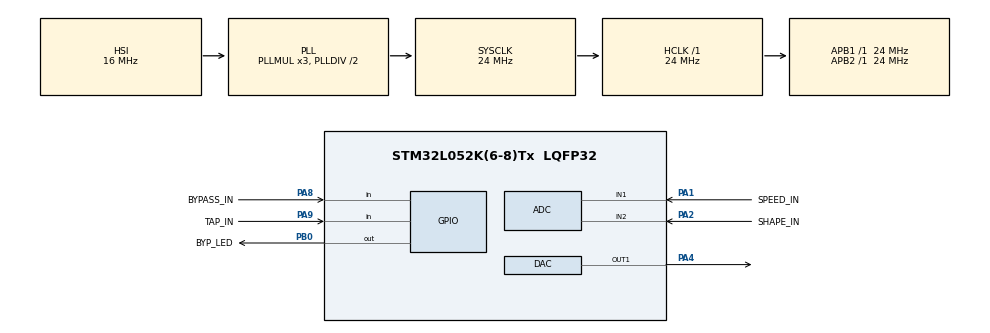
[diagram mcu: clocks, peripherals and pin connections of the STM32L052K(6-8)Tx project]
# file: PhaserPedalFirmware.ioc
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ADC.SamplingTime=ADC_SAMPLETIME_79CYCLES_5
DAC.DAC_Trigger=DAC_TRIGGER_T2_TRGO
Dma.DAC_CH1.0.Direction=DMA_MEMORY_TO_PERIPH
Dma.DAC_CH1.0.Instance=DMA1_Channel2
Dma.DAC_CH1.0.MemDataAlignment=DMA_MDATAALIGN_HALFWORD
Dma.DAC_CH1.0.MemInc=DMA_MINC_ENABLE
Dma.DAC_CH1.0.Mode=DMA_CIRCULAR
Dma.DAC_CH1.0.PeriphDataAlignment=DMA_PDATAALIGN_HALFWORD
Dma.DAC_CH1.0.PeriphInc=DMA_PINC_DISABLE
Dma.DAC_CH1.0.Priority=DMA_PRIORITY_LOW
Dma.Request0=DAC_CH1
Mcu.Family=STM32L0
Mcu.Name=STM32L052K(6-8)Tx
Mcu.Package=LQFP32
NVIC.DMA1_Channel2_3_IRQn=true\:0\:0\:false\:false\:true\:false\:true\:true
NVIC.TIM21_IRQn=true\:0\:0\:false\:false\:true\:true\:true\:true
NVIC.TIM6_DAC_IRQn=true\:0\:0\:false\:false\:true\:true\:true\:true
PA1.GPIO_Label=SPEED_IN
PA1.Mode=IN1
PA1.Signal=ADC_IN1
PA13.Mode=Serial_Wire
PA13.Signal=SYS_SWDIO
PA14.Mode=Serial_Wire
PA14.Signal=SYS_SWCLK
PA2.GPIO_Label=SHAPE_IN
PA2.Mode=IN2
PA2.Signal=ADC_IN2
PA4.Signal=COMP_DAC1_group
PA8.GPIO_Label=BYPASS_IN
PA8.Signal=GPIO_Input
PA9.GPIO_Label=TAP_IN
PA9.Signal=GPIO_Input
PB0.GPIO_Label=BYP_LED
PB0.Signal=GPIO_Output
ProjectManager.HeapSize=0x200
ProjectManager.StackSize=0x400
ProjectManager.TargetToolchain=CMake
RCC.AHBFreq_Value=24000000
RCC.APB1Freq_Value=24000000
RCC.APB1TimFreq_Value=24000000
RCC.APB2Freq_Value=24000000
RCC.APB2TimFreq_Value=24000000
RCC.HCLKFreq_Value=24000000
RCC.HSI16_VALUE=16000000
RCC.HSI48_VALUE=48000000
RCC.HSI_VALUE=16000000
RCC.LSE_VALUE=32768
RCC.MSI_VALUE=2097000
RCC.SYSCLKFreq_VALUE=24000000
RCC.SYSCLKSource=RCC_SYSCLKSOURCE_PLLCLK
RCC.VCOOutputFreq_Value=48000000
SH.COMP_DAC1_group.0=DAC_OUT1,DAC_OUT1
TIM2.Period=499
TIM2.TIM_MasterOutputTrigger=TIM_TRGO_UPDATE
TIM21.Period=59999
TIM21.Prescaler=3
TIM21.TIM_MasterOutputTrigger=TIM_TRGO_UPDATE
TIM6.Period=2999
VP_TIM21_VS_ClockSourceINT.Mode=Internal
VP_TIM2_VS_ClockSourceINT.Mode=Internal
VP_TIM6_VS_ClockSourceINT.Mode=Enable_Timer
board=custom

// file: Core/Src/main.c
/* USER CODE BEGIN Header */
/**
  ******************************************************************************
  * @file           : main.c
  * @brief          : Main program body
  ******************************************************************************
  * @attention
  *
  * Copyright (c) 2026 STMicroelectronics.
  * All rights reserved.
  *
  * This software is licensed under terms that can be found in the LICENSE file
  * in the root directory of this software component.
  * If no LICENSE file comes with this software, it is provided AS-IS.
  *
  ******************************************************************************
  */
/* USER CODE END Header */
#include "main.h"

/* USER CODE BEGIN Includes */
#include "tap_tempo.h"
#include "lfo.h"
#include "norm_range.h"
/* USER CODE END Includes */

/* USER CODE BEGIN PD */
#define SPEED_MIN 0.15f
#define SPEED_MAX 10.0f
#define SPEED_CENTER 1.3f

#define SHAPE_MIN 0.03f
#define SHAPE_MAX 0.97f
#define SHAPE_CENTER 0.5f
/* USER CODE END PD */

ADC_HandleTypeDef hadc;

DAC_HandleTypeDef hdac;
DMA_HandleTypeDef hdma_dac_ch1;

TIM_HandleTypeDef htim2;
TIM_HandleTypeDef htim6;
TIM_HandleTypeDef htim21;

/* USER CODE BEGIN PV */
// main DMA buffer
uint16_t dmaBuf[DMA_BUF_SIZE * 2];
uint16_t* const dmaPtrA = dmaBuf;
uint16_t* const dmaPtrB = &dmaBuf[DMA_BUF_SIZE];
volatile bool bufferReady = false;
uint16_t* nextBuffer = dmaPtrA;
lfo_state lfo;
bool speedKnobMoved = false;
bool inTapMode = false;
// knob state
float currentSpeedValue = 0.0f;
float currentShapeValue = 0.0f;
// knob ranges
norm_range_t speedRange;
norm_range_t shapeRange;
// global time stuff
static const float secsIncrement = 1.0f / (float)TAP_SAMPLE_RATE;
static float globalSeconds = 0.0f;

/* USER CODE END PV */

void SystemClock_Config(void);
static void MX_GPIO_Init(void);
static void MX_DMA_Init(void);
static void MX_DAC_Init(void);
static void MX_ADC_Init(void);
static void MX_TIM2_Init(void);
static void MX_TIM6_Init(void);
static void MX_TIM21_Init(void);
/* USER CODE BEGIN PFP */
void readPotADCs();
void initControlRanges();
/* USER CODE END PFP */

/* USER CODE BEGIN 0 */
void fillNextBuffer(uint16_t* buf){
  for(uint16_t i = 0; i < DMA_BUF_SIZE; ++i){
    buf[i] =  lfo_next_value(&lfo);
  }
}

static float readADCChannel(uint32_t chselMask){
  // select only this channel so each start does exactly one conversion
  // (avoids an overrun when scanning both channels back to back)
  hadc.Instance->CHSELR = chselMask;
  if(HAL_ADC_Start(&hadc) != HAL_OK){
    Error_Handler();
  }
  if(HAL_ADC_PollForConversion(&hadc, 10) != HAL_OK){
    Error_Handler();
  }
  const uint32_t raw = HAL_ADC_GetValue(&hadc);
  HAL_ADC_Stop(&hadc);
  return (float)raw / 4095.0f;
}

void readPotADCs(){
  const float newSpeedValue = readADCChannel(ADC_CHSELR_CHSEL1);
  const float newShapeValue = readADCChannel(ADC_CHSELR_CHSEL2);
  // update if the value has changed by more than 3%
  if(!fwithin_error(currentSpeedValue, newSpeedValue, 0.03f)){
    currentSpeedValue = newSpeedValue;
    lfo_update_period(&lfo, 1.0f / norm_range_denormalize(&speedRange, currentSpeedValue));
    speedKnobMoved = true;
  }
  if(!fwithin_error(currentShapeValue, newShapeValue, 0.03f)){
    currentShapeValue = newShapeValue;
    lfo_update_peak_phase(&lfo, norm_range_denormalize(&shapeRange, currentShapeValue));
  }
}

void initControlRanges(){
  norm_range_init(&speedRange, SPEED_MIN, SPEED_MAX, SPEED_CENTER);
  norm_range_init(&shapeRange, SHAPE_MIN, SHAPE_MAX, SHAPE_CENTER);
}
/* USER CODE END 0 */

int main(void)
{

  /* MCU Configuration--------------------------------------------------------*/

  /* Reset of all peripherals, Initializes the Flash interface and the Systick. */
  HAL_Init();

  /* Configure the system clock */
  SystemClock_Config();

  /* Initialize all configured peripherals */
  MX_GPIO_Init();
  MX_DMA_Init();
  MX_DAC_Init();
  MX_ADC_Init();
  MX_TIM2_Init();
  MX_TIM6_Init();
  MX_TIM21_Init();
  /* USER CODE BEGIN 2 */
  // start the DMA stream for the DAC values
  if(HAL_DAC_Start_DMA(&hdac, DAC_CHANNEL_1, (uint32_t*)dmaBuf, DMA_BUF_SIZE * 2, DAC_ALIGN_12B_R)!= HAL_OK){
    Error_Handler();
  }
  // start the timer that triggers the DAC
  if(HAL_TIM_Base_Start(&htim2)!= HAL_OK){
    Error_Handler();
  }
  // start the timer for checking the buttons
  if(HAL_TIM_Base_Start_IT(&htim6)!= HAL_OK){
    Error_Handler();
  }
  // start the timer for checking the knobs
  if(HAL_TIM_Base_Start_IT(&htim21)!= HAL_OK){
    Error_Handler();
  }
  // initialize the LFO
  lfo_init_state(&lfo);
  // initialize the control ranges
  initControlRanges();
  //initialize the tap tempo
  tap_tempo_init();
  /* USER CODE END 2 */

  /* Infinite loop */
  /* USER CODE BEGIN WHILE */
  while (1)
  {
    if(bufferReady){
      fillNextBuffer(nextBuffer);
      bufferReady = false;
    }
    /* USER CODE END WHILE */

  }
}

void SystemClock_Config(void)
{
  RCC_OscInitTypeDef RCC_OscInitStruct = {0};
  RCC_ClkInitTypeDef RCC_ClkInitStruct = {0};

  /** Configure the main internal regulator output voltage
  */
  __HAL_PWR_VOLTAGESCALING_CONFIG(PWR_REGULATOR_VOLTAGE_SCALE1);

  /** Initializes the RCC Oscillators according to the specified parameters
  * in the RCC_OscInitTypeDef structure.
  */
  RCC_OscInitStruct.OscillatorType = RCC_OSCILLATORTYPE_HSI;
  RCC_OscInitStruct.HSIState = RCC_HSI_ON;
  RCC_OscInitStruct.HSICalibrationValue = RCC_HSICALIBRATION_DEFAULT;
  RCC_OscInitStruct.PLL.PLLState = RCC_PLL_ON;
  RCC_OscInitStruct.PLL.PLLSource = RCC_PLLSOURCE_HSI;
  RCC_OscInitStruct.PLL.PLLMUL = RCC_PLLMUL_3;
  RCC_OscInitStruct.PLL.PLLDIV = RCC_PLLDIV_2;
  if (HAL_RCC_OscConfig(&RCC_OscInitStruct) != HAL_OK)
  {
    Error_Handler();
  }

  /** Initializes the CPU, AHB and APB buses clocks
  */
  RCC_ClkInitStruct.ClockType = RCC_CLOCKTYPE_HCLK|RCC_CLOCKTYPE_SYSCLK
                              |RCC_CLOCKTYPE_PCLK1|RCC_CLOCKTYPE_PCLK2;
  RCC_ClkInitStruct.SYSCLKSource = RCC_SYSCLKSOURCE_PLLCLK;
  RCC_ClkInitStruct.AHBCLKDivider = RCC_SYSCLK_DIV1;
  RCC_ClkInitStruct.APB1CLKDivider = RCC_HCLK_DIV1;
  RCC_ClkInitStruct.APB2CLKDivider = RCC_HCLK_DIV1;

  if (HAL_RCC_ClockConfig(&RCC_ClkInitStruct, FLASH_LATENCY_1) != HAL_OK)
  {
    Error_Handler();
  }
}

static void MX_ADC_Init(void)
{

  ADC_ChannelConfTypeDef sConfig = {0};

  /** Configure the global features of the ADC (Clock, Resolution, Data Alignment and number of conversion)
  */
  hadc.Instance = ADC1;
  hadc.Init.OversamplingMode = DISABLE;
  hadc.Init.ClockPrescaler = ADC_CLOCK_SYNC_PCLK_DIV2;
  hadc.Init.Resolution = ADC_RESOLUTION_12B;
  hadc.Init.SamplingTime = ADC_SAMPLETIME_79CYCLES_5;
  hadc.Init.ScanConvMode = ADC_SCAN_DIRECTION_FORWARD;
  hadc.Init.DataAlign = ADC_DATAALIGN_RIGHT;
  hadc.Init.ContinuousConvMode = DISABLE;
  hadc.Init.DiscontinuousConvMode = DISABLE;
  hadc.Init.ExternalTrigConvEdge = ADC_EXTERNALTRIGCONVEDGE_NONE;
  hadc.Init.ExternalTrigConv = ADC_SOFTWARE_START;
  hadc.Init.DMAContinuousRequests = DISABLE;
  hadc.Init.EOCSelection = ADC_EOC_SINGLE_CONV;
  hadc.Init.Overrun = ADC_OVR_DATA_PRESERVED;
  hadc.Init.LowPowerAutoWait = DISABLE;
  hadc.Init.LowPowerFrequencyMode = DISABLE;
  hadc.Init.LowPowerAutoPowerOff = DISABLE;
  if (HAL_ADC_Init(&hadc) != HAL_OK)
  {
    Error_Handler();
  }

  /** Configure for the selected ADC regular channel to be converted.
  */
  sConfig.Channel = ADC_CHANNEL_1;
  sConfig.Rank = ADC_RANK_CHANNEL_NUMBER;
  if (HAL_ADC_ConfigChannel(&hadc, &sConfig) != HAL_OK)
  {
    Error_Handler();
  }

  /** Configure for the selected ADC regular channel to be converted.
  */
  sConfig.Channel = ADC_CHANNEL_2;
  if (HAL_ADC_ConfigChannel(&hadc, &sConfig) != HAL_OK)
  {
    Error_Handler();
  }

}

static void MX_DAC_Init(void)
{

  DAC_ChannelConfTypeDef sConfig = {0};

  /** DAC Initialization
  */
  hdac.Instance = DAC;
  if (HAL_DAC_Init(&hdac) != HAL_OK)
  {
    Error_Handler();
  }

  /** DAC channel OUT1 config
  */
  sConfig.DAC_Trigger = DAC_TRIGGER_T2_TRGO;
  sConfig.DAC_OutputBuffer = DAC_OUTPUTBUFFER_ENABLE;
  if (HAL_DAC_ConfigChannel(&hdac, &sConfig, DAC_CHANNEL_1) != HAL_OK)
  {
    Error_Handler();
  }

}

static void MX_TIM2_Init(void)
{

  TIM_ClockConfigTypeDef sClockSourceConfig = {0};
  TIM_MasterConfigTypeDef sMasterConfig = {0};

  htim2.Instance = TIM2;
  htim2.Init.Prescaler = 0;
  htim2.Init.CounterMode = TIM_COUNTERMODE_UP;
  htim2.Init.Period = 499;
  htim2.Init.ClockDivision = TIM_CLOCKDIVISION_DIV1;
  htim2.Init.AutoReloadPreload = TIM_AUTORELOAD_PRELOAD_DISABLE;
  if (HAL_TIM_Base_Init(&htim2) != HAL_OK)
  {
    Error_Handler();
  }
  sClockSourceConfig.ClockSource = TIM_CLOCKSOURCE_INTERNAL;
  if (HAL_TIM_ConfigClockSource(&htim2, &sClockSourceConfig) != HAL_OK)
  {
    Error_Handler();
  }
  sMasterConfig.MasterOutputTrigger = TIM_TRGO_UPDATE;
  sMasterConfig.MasterSlaveMode = TIM_MASTERSLAVEMODE_DISABLE;
  if (HAL_TIMEx_MasterConfigSynchronization(&htim2, &sMasterConfig) != HAL_OK)
  {
    Error_Handler();
  }

}

static void MX_TIM6_Init(void)
{

  TIM_MasterConfigTypeDef sMasterConfig = {0};

  htim6.Instance = TIM6;
  htim6.Init.Prescaler = 0;
  htim6.Init.CounterMode = TIM_COUNTERMODE_UP;
  htim6.Init.Period = 2999;
  htim6.Init.AutoReloadPreload = TIM_AUTORELOAD_PRELOAD_DISABLE;
  if (HAL_TIM_Base_Init(&htim6) != HAL_OK)
  {
    Error_Handler();
  }
  sMasterConfig.MasterOutputTrigger = TIM_TRGO_RESET;
  sMasterConfig.MasterSlaveMode = TIM_MASTERSLAVEMODE_DISABLE;
  if (HAL_TIMEx_MasterConfigSynchronization(&htim6, &sMasterConfig) != HAL_OK)
  {
    Error_Handler();
  }

}

static void MX_TIM21_Init(void)
{

  TIM_ClockConfigTypeDef sClockSourceConfig = {0};
  TIM_MasterConfigTypeDef sMasterConfig = {0};

  htim21.Instance = TIM21;
  htim21.Init.Prescaler = 3;
  htim21.Init.CounterMode = TIM_COUNTERMODE_UP;
  htim21.Init.Period = 59999;
  htim21.Init.ClockDivision = TIM_CLOCKDIVISION_DIV1;
  htim21.Init.AutoReloadPreload = TIM_AUTORELOAD_PRELOAD_DISABLE;
  if (HAL_TIM_Base_Init(&htim21) != HAL_OK)
  {
    Error_Handler();
  }
  sClockSourceConfig.ClockSource = TIM_CLOCKSOURCE_INTERNAL;
  if (HAL_TIM_ConfigClockSource(&htim21, &sClockSourceConfig) != HAL_OK)
  {
    Error_Handler();
  }
  sMasterConfig.MasterOutputTrigger = TIM_TRGO_UPDATE;
  sMasterConfig.MasterSlaveMode = TIM_MASTERSLAVEMODE_DISABLE;
  if (HAL_TIMEx_MasterConfigSynchronization(&htim21, &sMasterConfig) != HAL_OK)
  {
    Error_Handler();
  }

}

static void MX_DMA_Init(void)
{

  /* DMA controller clock enable */
  __HAL_RCC_DMA1_CLK_ENABLE();

  /* DMA interrupt init */
  /* DMA1_Channel2_3_IRQn interrupt configuration */
  HAL_NVIC_SetPriority(DMA1_Channel2_3_IRQn, 0, 0);
  HAL_NVIC_EnableIRQ(DMA1_Channel2_3_IRQn);

}

static void MX_GPIO_Init(void)
{
  GPIO_InitTypeDef GPIO_InitStruct = {0};

  /* GPIO Ports Clock Enable */
  __HAL_RCC_GPIOA_CLK_ENABLE();
  __HAL_RCC_GPIOB_CLK_ENABLE();

  /*Configure GPIO pin Output Level */
  HAL_GPIO_WritePin(BYP_LED_GPIO_Port, BYP_LED_Pin, GPIO_PIN_RESET);

  /*Configure GPIO pin : BYP_LED_Pin */
  GPIO_InitStruct.Pin = BYP_LED_Pin;
  GPIO_InitStruct.Mode = GPIO_MODE_OUTPUT_PP;
  GPIO_InitStruct.Pull = GPIO_NOPULL;
  GPIO_InitStruct.Speed = GPIO_SPEED_FREQ_LOW;
  HAL_GPIO_Init(BYP_LED_GPIO_Port, &GPIO_InitStruct);

  /*Configure GPIO pins : BYPASS_IN_Pin TAP_IN_Pin */
  GPIO_InitStruct.Pin = BYPASS_IN_Pin|TAP_IN_Pin;
  GPIO_InitStruct.Mode = GPIO_MODE_INPUT;
  GPIO_InitStruct.Pull = GPIO_NOPULL;
  HAL_GPIO_Init(GPIOA, &GPIO_InitStruct);

}

/* USER CODE BEGIN 4 */
//=====================================================================================
// DAC callbacks------------------------------------------
void HAL_DAC_ConvHalfCpltCallbackCh1(DAC_HandleTypeDef * dac){
  nextBuffer = dmaPtrA;
  bufferReady = true;
}
void HAL_DAC_ConvCpltCallbackCh1(DAC_HandleTypeDef * dac){
  nextBuffer = dmaPtrB;
  bufferReady = true;
}

float get_global_time(){
  return globalSeconds;
}
// Timer callbacks----------------------------------------
void HAL_TIM_PeriodElapsedCallback(TIM_HandleTypeDef *htim){
  if(htim == &htim6){
    tap_tempo_update((bool)HAL_GPIO_ReadPin(TAP_IN_GPIO_Port, TAP_IN_Pin));
    globalSeconds += secsIncrement;
  } else if (htim == &htim21){
    readPotADCs();
    // if the speed control moved, don't bother checking on the tap tempo
    if(speedKnobMoved){
      inTapMode = false;
      speedKnobMoved = false;
    } else if (tap_tempo_was_tapped_within(0.01f)){
      inTapMode = true;
      lfo_update_period(&lfo, tap_tempo_current_period());
    }

  }
}
//=====================================================================================

/* USER CODE END 4 */

void Error_Handler(void)
{
  __disable_irq();
  while (1)
  {
  }
}
